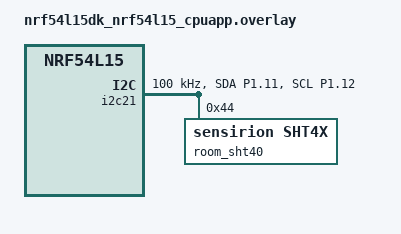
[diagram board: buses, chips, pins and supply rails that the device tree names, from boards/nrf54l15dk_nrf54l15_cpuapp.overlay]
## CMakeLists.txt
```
cmake_minimum_required(VERSION 3.20.0)
find_package(Zephyr REQUIRED HINTS $ENV{ZEPHYR_BASE})
project(room_sensor)
target_include_directories(app PRIVATE include)
target_sources(app PRIVATE src/main.c src/reading.c src/boot_id.c src/sequence.c src/transport.c)
```

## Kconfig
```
mainmenu "Room temperature and humidity node"
source "Kconfig.zephyr"

config ROOM_SAMPLE_INTERVAL_S
	int "Sampling interval in seconds"
	range 10 86400
	default 60

config ROOM_COLLECTOR_IPV6
	string "Collector unicast IPv6 address (empty disables reporting)"
	default ""
	help
	  Use a reachable ULA or global IPv6 literal, without brackets or zone.
	  This is an address, not a Thread credential.

config ROOM_COLLECTOR_PORT
	int "Collector CoAP UDP port"
	range 1 65535
	default 5683
```

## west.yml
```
manifest:
  version: "0.13"
  projects:
    - name: nrf
      url: https://github.com/nrfconnect/sdk-nrf
      revision: v3.2.1
      import: true
  self:
    path: room-sensor
```

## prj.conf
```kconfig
# nRF Connect SDK v3.2.1 / sdk-zephyr ncs-v3.2.1.
CONFIG_OPENTHREAD=y
CONFIG_OPENTHREAD_SOURCES=y
CONFIG_OPENTHREAD_FTD=y
CONFIG_OPENTHREAD_THREAD_VERSION_1_3=y
CONFIG_OPENTHREAD_MANUAL_START=y
CONFIG_OPENTHREAD_OPERATIONAL_DATASET_AUTO_INIT=n
CONFIG_OPENTHREAD_NETWORKKEY=""
CONFIG_OPENTHREAD_JOINER=y
CONFIG_OPENTHREAD_JOINER_AUTOSTART=n
CONFIG_OPENTHREAD_COAP=y
# Obtain an address from the border router's advertised OMR/on-mesh prefix.
CONFIG_OPENTHREAD_SLAAC=y
CONFIG_OPENTHREAD_SETTINGS_RAM=n
CONFIG_OPENTHREAD_NRF_SECURITY_PSA_CHOICE=y

CONFIG_SHELL=y
CONFIG_OPENTHREAD_SHELL=y
CONFIG_SHELL_ARGC_MAX=26
CONFIG_SHELL_CMD_BUFF_SIZE=416
# Do not retain commissioning commands in shell history.
CONFIG_SHELL_HISTORY=n

CONFIG_FLASH=y
CONFIG_FLASH_MAP=y
CONFIG_SETTINGS=y
# Match Nordic's RRAM-backed nRF54L15 settings backend.
CONFIG_ZMS=y
CONFIG_SETTINGS_ZMS=y
CONFIG_PM_PARTITION_SIZE_SETTINGS_STORAGE=0x8000

CONFIG_I2C=y
CONFIG_SENSOR=y
CONFIG_SHT4X=y
CONFIG_HWINFO=y
# Use the real entropy-backed CSPRNG for the public per-boot 128-bit ID.
CONFIG_HARDWARE_DEVICE_CS_GENERATOR=y
CONFIG_TEST_RANDOM_GENERATOR=n
CONFIG_LOG=y
CONFIG_MAIN_STACK_SIZE=4096
CONFIG_LOG_DEFAULT_LEVEL=3
```

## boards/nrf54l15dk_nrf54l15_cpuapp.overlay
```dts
/* PROPOSED wiring, not an assertion about the user's attached hardware.
 * P1.11 SDA / P1.12 SCL. Verify DK revision and matching I/O supply first.
 * This application uses TWIM21 in the P1 peripheral/pin domain.
 */
#include <zephyr/dt-bindings/pinctrl/nrf-pinctrl.h>
#include <zephyr/dt-bindings/i2c/i2c.h>

&pinctrl {
	room_i2c_default: room_i2c_default {
		group1 {
			psels = <NRF_PSEL(TWIM_SDA, 1, 11)>,
				<NRF_PSEL(TWIM_SCL, 1, 12)>;
		};
	};
	room_i2c_sleep: room_i2c_sleep {
		group1 {
			psels = <NRF_PSEL(TWIM_SDA, 1, 11)>,
				<NRF_PSEL(TWIM_SCL, 1, 12)>;
			low-power-enable;
		};
	};
};

&i2c21 {
	status = "okay";
	clock-frequency = <I2C_BITRATE_STANDARD>;
	pinctrl-0 = <&room_i2c_default>;
	pinctrl-1 = <&room_i2c_sleep>;
	pinctrl-names = "default", "sleep";
	room_sht40: sht40@44 {
		compatible = "sensirion,sht4x";
		reg = <0x44>;
		repeatability = <2>;
	};
};
```

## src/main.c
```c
#include "reading.h"
#include "boot_id.h"
#include "sequence.h"
#include "transport.h"
#include <errno.h>
#include <zephyr/device.h>
#include <zephyr/drivers/hwinfo.h>
#include <zephyr/drivers/sensor.h>
#include <zephyr/kernel.h>
#include <zephyr/logging/log.h>
#include <zephyr/random/random.h>

LOG_MODULE_REGISTER(room_sensor);
static const struct device *const sensor = DEVICE_DT_GET(DT_NODELABEL(room_sht40));

static int make_node_id(char out[ROOM_NODE_ID_LEN + 1])
{
	uint8_t id[8];
	static const char hex[] = "0123456789abcdef";
	ssize_t count = hwinfo_get_device_id(id, sizeof(id));
	if (count != sizeof(id)) {
		return -EIO;
	}
	for (size_t i = 0; i < sizeof(id); ++i) {
		out[2 * i] = hex[id[i] >> 4];
		out[2 * i + 1] = hex[id[i] & 15];
	}
	out[ROOM_NODE_ID_LEN] = '\0';
	return 0;
}

int main(void)
{
	struct room_reading reading = {0};
	struct room_sequence sequence;
	char json[ROOM_JSON_CAPACITY];
	int rc = make_node_id(reading.node_id);
	if (rc == 0) {
		rc = room_boot_id_generate(reading.boot_id, sys_csrand_get);
	}
	if (rc != 0) {
		LOG_ERR("Hardware/boot identity generation failed (%d); measurements disabled", rc);
		return rc;
	}
	room_sequence_init(&sequence);
	LOG_INF("Room sensor node %s; period %d s", reading.node_id, CONFIG_ROOM_SAMPLE_INTERVAL_S);
	rc = room_network_init();
	if (rc != 0) {
		return rc;
	}
	/* Deadline cadence prevents the measurement and send duration accumulating drift.
	 * There is no sensor simulation or stale-sample resend path here.
	 */
	int64_t next = k_uptime_get();
	while (true) {
		struct sensor_value temperature, humidity;
		next += (int64_t)CONFIG_ROOM_SAMPLE_INTERVAL_S * 1000;
		if (!device_is_ready(sensor)) {
			LOG_ERR("SHT40 not ready; check power/wiring then reboot");
			goto sleep_until_next;
		}
		rc = sensor_sample_fetch(sensor);
		if (rc == 0) {
			rc = sensor_channel_get(sensor, SENSOR_CHAN_AMBIENT_TEMP, &temperature);
		}
		if (rc == 0) {
			rc = sensor_channel_get(sensor, SENSOR_CHAN_HUMIDITY, &humidity);
		}
		if (rc != 0) {
			LOG_WRN("SHT40 read/CRC error %d; sample dropped", rc);
			goto sleep_until_next;
		}
		rc = room_measurement_from_micro((int64_t)temperature.val1 * 1000000 + temperature.val2,
			(int64_t)humidity.val1 * 1000000 + humidity.val2, &reading);
		if (rc != 0) {
			LOG_WRN("SHT40 measurement outside valid range; sample dropped");
			goto sleep_until_next;
		}
		reading.uptime_s = (uint64_t)k_uptime_get() / 1000;
		LOG_INF("Measured temperature=%d mdegC humidity=%d milli-percent",
			reading.temperature_milli_c, reading.humidity_milli_pct);
		if (!room_transport_ready()) {
			LOG_INF("Fresh sample dropped: not attached, no collector, or request pending");
			goto sleep_until_next;
		}
		rc = room_sequence_take(&sequence, &reading.sequence);
		if (rc != 0) {
			LOG_ERR("Boot sequence exhausted (%d); sample dropped", rc);
			goto sleep_until_next;
		}
		rc = room_reading_encode(&reading, json, sizeof(json));
		if (rc < 0) {
			LOG_ERR("Reading encode failed %d", rc);
		} else {
			rc = room_transport_send(json, (size_t)rc);
			if (rc != 0) {
				LOG_WRN("Reading not queued (%d)", rc);
			}
		}
sleep_until_next:
		if (next <= k_uptime_get()) {
			next = k_uptime_get() + (int64_t)CONFIG_ROOM_SAMPLE_INTERVAL_S * 1000;
		}
		k_sleep(K_TIMEOUT_ABS_MS(next));
	}
	return 0;
}
```

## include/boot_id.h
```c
#ifndef ROOM_BOOT_ID_H
#define ROOM_BOOT_ID_H
#include "reading.h"
#include <stddef.h>

/* fill must return zero only after filling all bytes from a secure random source.
 * The hardware application passes Zephyr sys_csrand_get; deterministic providers
 * are used only in isolated unit tests. The boot ID is public, not a credential.
 */
typedef int (*room_random_fill_fn)(void *buffer, size_t length);
int room_boot_id_generate(char out[ROOM_BOOT_ID_LEN + 1], room_random_fill_fn fill);
#endif
```

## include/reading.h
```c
#ifndef ROOM_READING_H
#define ROOM_READING_H
#include <stddef.h>
#include <stdint.h>

#define ROOM_NODE_ID_LEN 16
#define ROOM_BOOT_ID_LEN 32
#define ROOM_JSON_CAPACITY 256
#define ROOM_MAX_SEQUENCE UINT64_C(9007199254740991)

struct room_reading {
	char node_id[ROOM_NODE_ID_LEN + 1];
	char boot_id[ROOM_BOOT_ID_LEN + 1];
	uint64_t sequence;
	uint64_t uptime_s;
	int32_t temperature_milli_c;
	int32_t humidity_milli_pct;
};

/* Normalize real driver results, including the SHT4x raw RH conversion range.
 * Invalid temperatures or impossible raw humidity return -ERANGE.
 */
int room_measurement_from_micro(int64_t temperature, int64_t humidity,
			       struct room_reading *out);
int room_reading_encode(const struct room_reading *r, char *out, size_t capacity);
#endif
```

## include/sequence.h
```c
#ifndef ROOM_SEQUENCE_H
#define ROOM_SEQUENCE_H
#include <stdint.h>
struct room_sequence {
	uint64_t next;
};
void room_sequence_init(struct room_sequence *state);
int room_sequence_take(struct room_sequence *state, uint64_t *value);
#endif
```

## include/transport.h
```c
#ifndef ROOM_TRANSPORT_H
#define ROOM_TRANSPORT_H
#include <stdbool.h>
#include <stddef.h>
int room_network_init(void);
bool room_transport_ready(void);
int room_transport_send(const char *json, size_t length);
#endif
```

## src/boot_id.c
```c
#include "boot_id.h"
#include <errno.h>
#include <stdint.h>

int room_boot_id_generate(char out[ROOM_BOOT_ID_LEN + 1], room_random_fill_fn fill)
{
	uint8_t bytes[16];
	static const char hex[] = "0123456789abcdef";
	if (out == NULL || fill == NULL) {
		return -EINVAL;
	}
	out[0] = '\0';
	int rc = fill(bytes, sizeof(bytes));
	if (rc != 0) {
		return rc;
	}
	for (size_t i = 0; i < sizeof(bytes); ++i) {
		out[2 * i] = hex[bytes[i] >> 4];
		out[2 * i + 1] = hex[bytes[i] & 15];
	}
	out[ROOM_BOOT_ID_LEN] = '\0';
	return 0;
}
```

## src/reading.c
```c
#include "reading.h"
#include <errno.h>
#include <inttypes.h>
#include <stdio.h>

static int32_t round_milli(int64_t value)
{
	return (int32_t)((value + (value >= 0 ? 500 : -500)) / 1000);
}

int room_measurement_from_micro(int64_t temperature, int64_t humidity,
			       struct room_reading *out)
{
	if (out == NULL) {
		return -EINVAL;
	}
	if (temperature < -INT64_C(40000000) || temperature > INT64_C(125000000) ||
	    humidity < -INT64_C(6000000) || humidity > INT64_C(119000000)) {
		return -ERANGE;
	}
	if (humidity < 0) {
		humidity = 0;
	} else if (humidity > INT64_C(100000000)) {
		humidity = INT64_C(100000000);
	}
	out->temperature_milli_c = round_milli(temperature);
	out->humidity_milli_pct = round_milli(humidity);
	return 0;
}

int room_reading_encode(const struct room_reading *r, char *out, size_t capacity)
{
	if (r == NULL || out == NULL || capacity == 0) {
		return -EINVAL;
	}
	for (size_t i = 0; i < ROOM_NODE_ID_LEN; ++i) {
		char c = r->node_id[i];
		if (!((c >= '0' && c <= '9') || (c >= 'a' && c <= 'f'))) {
			return -EINVAL;
		}
	}
	for (size_t i = 0; i < ROOM_BOOT_ID_LEN; ++i) {
		char c = r->boot_id[i];
		if (!((c >= '0' && c <= '9') || (c >= 'a' && c <= 'f'))) {
			return -EINVAL;
		}
	}
	if (r->node_id[ROOM_NODE_ID_LEN] != '\0' || r->boot_id[ROOM_BOOT_ID_LEN] != '\0' ||
	    r->sequence > ROOM_MAX_SEQUENCE ||
	    r->uptime_s > ROOM_MAX_SEQUENCE || r->temperature_milli_c < -40000 ||
	    r->temperature_milli_c > 125000 || r->humidity_milli_pct < 0 ||
	    r->humidity_milli_pct > 100000) {
		return -ERANGE;
	}
	int32_t t = r->temperature_milli_c;
	uint32_t abs_t = (uint32_t)(t < 0 ? -t : t);
	uint32_t h = (uint32_t)r->humidity_milli_pct;
	int n = snprintf(out, capacity,
		"{\"schema_version\":1,\"node_id\":\"%s\",\"boot_id\":\"%s\",\"sequence\":%" PRIu64
		",\"uptime_s\":%" PRIu64 ",\"temperature_c\":%s%u.%03u,"
		"\"humidity_pct\":%u.%03u}",
		r->node_id, r->boot_id, r->sequence, r->uptime_s, t < 0 ? "-" : "",
		(unsigned)(abs_t / 1000), (unsigned)(abs_t % 1000),
		(unsigned)(h / 1000), (unsigned)(h % 1000));
	if (n < 0 || (size_t)n >= capacity) {
		out[0] = '\0';
		return -ENOSPC;
	}
	return n;
}
```

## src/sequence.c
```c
#include "sequence.h"
#include "reading.h"
#include <errno.h>
#include <stddef.h>

void room_sequence_init(struct room_sequence *state)
{
	state->next = 0;
}

int room_sequence_take(struct room_sequence *state, uint64_t *value)
{
	if (state == NULL || value == NULL) {
		return -EINVAL;
	}
	if (state->next > ROOM_MAX_SEQUENCE) {
		return -ERANGE;
	}
	*value = state->next++;
	return 0;
}
```

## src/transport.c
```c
#include "transport.h"
#include <errno.h>
#include <openthread.h>
#include <openthread/coap.h>
#include <openthread/dataset.h>
#include <openthread/ip6.h>
#include <openthread/thread.h>
#include <openthread/thread_ftd.h>
#include <zephyr/logging/log.h>

LOG_MODULE_REGISTER(room_transport);
static otInstance *instance;
static otIp6Address collector;
/* All accesses are under the OpenThread mutex; response callback already owns it. */
static bool pending;
static bool configured;
static const otCoapTxParameters tx_parameters = {
	.mAckTimeout = 2000,
	.mAckRandomFactorNumerator = 3,
	.mAckRandomFactorDenominator = 2,
	.mMaxRetransmit = 3,
};

static bool attached(void)
{
	otDeviceRole role = otThreadGetDeviceRole(instance);
	return role == OT_DEVICE_ROLE_CHILD || role == OT_DEVICE_ROLE_ROUTER ||
	       role == OT_DEVICE_ROLE_LEADER;
}

static void response(void *context, otMessage *message,
		     const otMessageInfo *info, otError error)
{
	ARG_UNUSED(context);
	ARG_UNUSED(info);
	pending = false;
	if (error != OT_ERROR_NONE || message == NULL) {
		LOG_WRN("Reading delivery failed (OT error %d)", error);
		return;
	}
	otCoapCode code = otCoapMessageGetCode(message);
	if (code == OT_COAP_CODE_CHANGED || code == OT_COAP_CODE_CREATED) {
		LOG_INF("Collector acknowledged reading");
	} else {
		LOG_WRN("Collector rejected/unexpected response: %u.%02u",
			(unsigned)code >> 5, (unsigned)code & 31U);
	}
}

int room_network_init(void)
{
	instance = openthread_get_default_instance();
	if (instance == NULL) {
		return -ENODEV;
	}
	openthread_mutex_lock();
	otLinkModeConfig mode = {
		.mRxOnWhenIdle = true,
		.mDeviceType = true,
		.mNetworkData = true,
	};
	otError error = otThreadSetLinkMode(instance, mode);
	if (error == OT_ERROR_NONE) {
		error = otThreadSetRouterEligible(instance, true);
	}
	if (error == OT_ERROR_NONE && otDatasetIsCommissioned(instance)) {
		error = otIp6SetEnabled(instance, true);
		if (error == OT_ERROR_NONE) {
			error = otThreadSetEnabled(instance, true);
		}
	} else if (error == OT_ERROR_NONE) {
		LOG_INF("No active dataset; waiting for physical commissioning");
	}
	if (error == OT_ERROR_NONE && CONFIG_ROOM_COLLECTOR_IPV6[0] != '\0') {
		error = otIp6AddressFromString(CONFIG_ROOM_COLLECTOR_IPV6, &collector);
		/* Only ULA (fc00::/7) or global unicast (2000::/3). No scope guessing. */
		uint8_t first = collector.mFields.m8[0];
		if (error == OT_ERROR_NONE && (first & 0xfe) != 0xfc && (first & 0xe0) != 0x20) {
			error = OT_ERROR_INVALID_ARGS;
		}
		if (error == OT_ERROR_NONE) {
			error = otCoapStart(instance, OT_DEFAULT_COAP_PORT);
			configured = error == OT_ERROR_NONE;
		}
	}
	openthread_mutex_unlock();
	if (error != OT_ERROR_NONE) {
		LOG_ERR("Thread/collector configuration error %d", error);
		return -EIO;
	}
	if (!configured) {
		LOG_WRN("Collector address empty; reporting is disabled");
	}
	return 0;
}

bool room_transport_ready(void)
{
	if (instance == NULL) {
		return false;
	}
	openthread_mutex_lock();
	bool ready = configured && !pending && attached();
	openthread_mutex_unlock();
	return ready;
}

int room_transport_send(const char *json, size_t length)
{
	if (instance == NULL || json == NULL || length == 0 || length > UINT16_MAX) {
		return -EINVAL;
	}
	openthread_mutex_lock();
	if (!configured || pending || !attached()) {
		openthread_mutex_unlock();
		return -EAGAIN;
	}
	otMessage *message = otCoapNewMessage(instance, NULL);
	if (message == NULL) {
		openthread_mutex_unlock();
		return -ENOMEM;
	}
	otCoapMessageInit(message, OT_COAP_TYPE_CONFIRMABLE, OT_COAP_CODE_POST);
	otCoapMessageGenerateToken(message, 8);
	otError error = otCoapMessageAppendUriPathOptions(message, "readings");
	if (error == OT_ERROR_NONE) {
		error = otCoapMessageAppendContentFormatOption(message, OT_COAP_OPTION_CONTENT_FORMAT_JSON);
	}
	if (error == OT_ERROR_NONE) {
		error = otCoapMessageSetPayloadMarker(message);
	}
	if (error == OT_ERROR_NONE) {
		error = otMessageAppend(message, json, (uint16_t)length);
	}
	if (error == OT_ERROR_NONE) {
		otMessageInfo info = {0};
		info.mPeerAddr = collector;
		info.mPeerPort = CONFIG_ROOM_COLLECTOR_PORT;
		pending = true;
		error = otCoapSendRequestWithParameters(instance, message, &info,
						      response, NULL, &tx_parameters);
	}
	if (error != OT_ERROR_NONE) {
		pending = false;
		otMessageFree(message);
	}
	/* On success OpenThread owns and later frees message. */
	openthread_mutex_unlock();
	return error == OT_ERROR_NONE ? 0 : -EIO;
}
```
